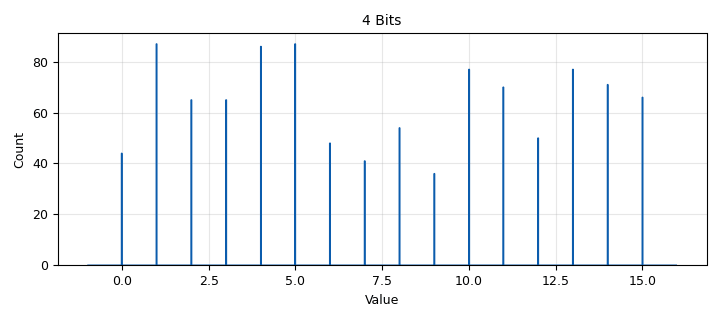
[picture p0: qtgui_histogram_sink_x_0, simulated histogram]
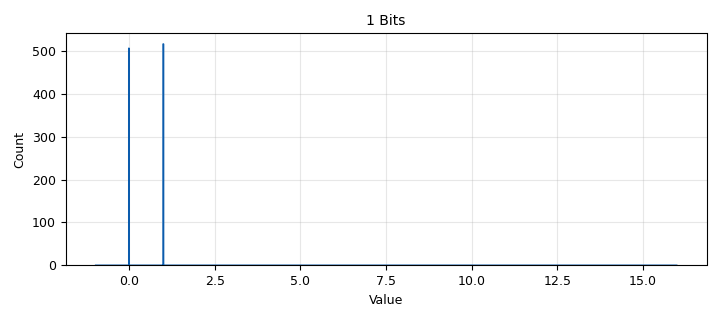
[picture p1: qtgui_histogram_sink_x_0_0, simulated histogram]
options:
  parameters:
    author: Aqil
    generate_options: qt_gui
    id: Praktikum1fg
    output_language: python
    title: Praktikum 1
  states: {}

blocks:
- name: samp_rate
  id: variable
  parameters:
    value: '32000'
  states: {}
- name: analog_random_source_x_0
  id: analog_random_source_x
  parameters:
    max: '2'
    min: '0'
    num_samps: '1000'
    repeat: 'True'
    type: byte
  states: {}
- name: blocks_char_to_float_0
  id: blocks_char_to_float
  parameters:
    scale: '1'
  states: {state: disabled}
- name: blocks_char_to_float_0_0
  id: blocks_char_to_float
  parameters:
    scale: '1'
  states: {}
- name: blocks_char_to_float_0_1
  id: blocks_char_to_float
  parameters:
    scale: '1'
  states: {}
- name: blocks_pack_k_bits_bb_0
  id: blocks_pack_k_bits_bb
  parameters:
    k: '4'
  states: {}
- name: blocks_throttle2_0_1_0
  id: blocks_throttle2
  parameters:
    samples_per_second: samp_rate
    type: byte
  states: {}
- name: qtgui_histogram_sink_x_0
  id: qtgui_histogram_sink_x
  parameters:
    bins: '1024'
    name: 4 Bits
    size: '1024'
    type: float
    xmax: '16'
    xmin: '-1'
  states: {}
- name: qtgui_histogram_sink_x_0_0
  id: qtgui_histogram_sink_x
  parameters:
    bins: '1024'
    name: 1 Bits
    size: '1024'
    type: float
    xmax: '16'
    xmin: '-1'
  states: {}
- name: qtgui_sink_x_0_0
  id: qtgui_sink_x
  parameters:
    bw: samp_rate
    fc: '0'
    fftsize: '1024'
    type: float
  states: {state: disabled}

connections:
- [analog_random_source_x_0, '0', blocks_throttle2_0_1_0, '0']
- [blocks_char_to_float_0, '0', qtgui_sink_x_0_0, '0']
- [blocks_char_to_float_0_0, '0', qtgui_histogram_sink_x_0, '0']
- [blocks_char_to_float_0_1, '0', qtgui_histogram_sink_x_0_0, '0']
- [blocks_pack_k_bits_bb_0, '0', blocks_char_to_float_0_0, '0']
- [blocks_throttle2_0_1_0, '0', blocks_char_to_float_0, '0']
- [blocks_throttle2_0_1_0, '0', blocks_char_to_float_0_1, '0']
- [blocks_throttle2_0_1_0, '0', blocks_pack_k_bits_bb_0, '0']

metadata:
  file_format: 1
  grc_version: 3.10.12.0
